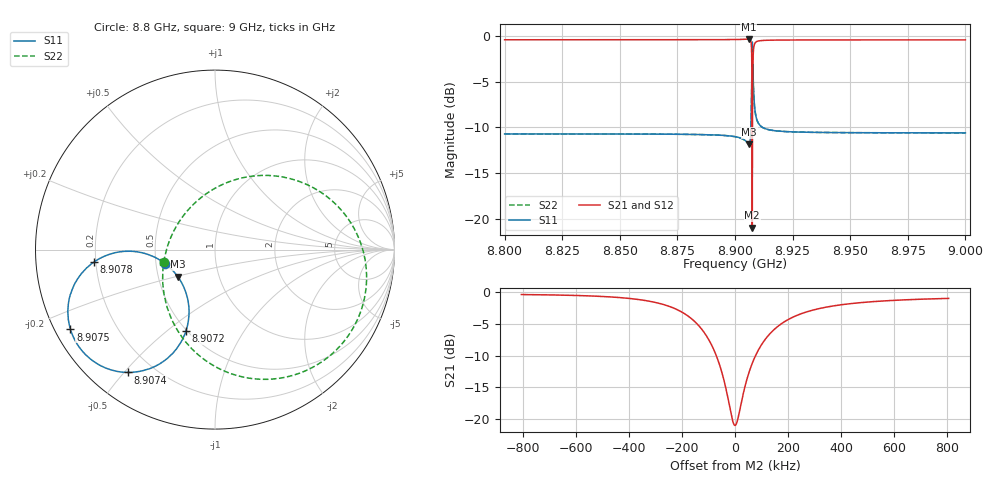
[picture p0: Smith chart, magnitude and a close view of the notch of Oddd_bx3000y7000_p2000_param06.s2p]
! Sonnet Data File
! From: emgraph Version : 16.52
! From Project: Resonator2
! Data is De-embedded
! Data File Written: 10/05/2017 10:46:05
!< HDATE 10/04/2017 20:26:48
!< MDATE 10/05/2017 00:36:07
!< PARAMS
!< gap = 46.0
!< Length = 400.0
!< Pwid1 = 2000.0
!< Pwid2 = 2000.0
!< END PARAMS
# GHZ S MA R 50.00000
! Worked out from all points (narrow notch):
!   1595 points, 8.8 GHz to 9 GHz, reference 50 ohm
!   highest |S21| = -0.31 dB at 8.9059 GHz (marker M1); lowest = -21.0 dB at 8.9075 GHz (marker M2)
!   notch at M2: 20.6 dB deep, 135 kHz wide at half that depth
!   lowest |S11| = -11.8 dB at 8.9061 GHz (marker M3), VSWR 1.69, Z = 31.5 - j10.1 ohm
!   |S11| at or under -10 dB: start of sweep to 8.9069 GHz; 8.912 GHz to end of sweep
!   |S22| runs from -12.0 to -1.1 dB; largest |S21 - S12| = 0
!   S11 on the Smith chart (normalised r, x): 8.8 GHz: 0.56, -0.10; 8.9072 GHz: 0.49, -0.58; 8.9074 GHz: 0.11, -0.51; 8.9075 GHz: 0.04, -0.26; 8.9078 GHz: 0.19, -0.05; 9 GHz: 0.55, -0.08
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8.8  0.2913 -164.4  0.9566 -75.2  0.9566 -75.2  0.2913 -166.0
!< P1 F=8.8 Eeff=(5.36817953 -2.3731e-5) Z0=(35.9853883 8.0522e-5) R=0.0 C=0.0
!< P2 F=8.8 Eeff=(5.36817953 -2.3731e-5) Z0=(35.9853883 8.0522e-5) R=0.0 C=0.0
8.8334  0.2913 -164.6  0.9566 -75.5  0.9566 -75.5  0.2913 -166.4
8.8668  0.2906 -164.6  0.9568 -75.9  0.9568 -75.9  0.2906 -167.2
8.9  0.2816 -162.3  0.9595 -77.4  0.9595 -77.4  0.2815 -172.5
8.905922  0.2569 -147.3  0.9652 -83.2  0.9652 -83.2  0.2536 160.9
8.906127  0.2562 -144.2  0.9649 -84.3  0.9649 -84.3  0.2518 155.5
8.9068  0.2907 -123.7  0.9505 -92.3  0.9505 -92.3  0.276 117.5
8.906994  0.3495 -114.6  0.9251 -98.2  0.9251 -98.2  0.3273 94.6
8.907175  0.4828 -109.6  0.8498 -108.7  0.8498 -108.7  0.4501 64.8
8.907305  0.6687 -114.0  0.6871 -122.8  0.6871 -122.8  0.6262 35.5
8.907401  0.8389 -125.3  0.4252 -136.6  0.4252 -136.6  0.7905 7.3
8.907444  0.8974 -132.6  0.2635 -139.1  0.2635 -139.1  0.8483 -6.9
8.907502  0.9313 -143.4  0.0892 -82.2  0.0892 -82.2  0.8844 -26.4
8.907544  0.92 -151.1  0.1984 -30.0  0.1984 -30.0  0.8765 -39.9
8.907621  0.8493 -162.2  0.4384 -30.2  0.4384 -30.2  0.8138 -60.7
8.907776  0.68 -174.0  0.7033 -44.7  0.7033 -44.7  0.6581 -88.9
8.908  0.5343 -178.6  0.8343 -55.9  0.8343 -55.9  0.5224 -110.5
8.908414  0.4243 -178.1  0.9019 -64.3  0.9019 -64.3  0.4191 -129.4
8.910614  0.3273 -171.5  0.9446 -72.4  0.9446 -72.4  0.3267 -153.2
8.9334  0.2973 -166.6  0.9548 -75.8  0.9548 -75.8  0.2973 -164.9
8.9668  0.2956 -166.4  0.9553 -76.3  0.9553 -76.3  0.2956 -166.2
9  0.2953 -166.5  0.9554 -76.6  0.9554 -76.6  0.2953 -166.7
